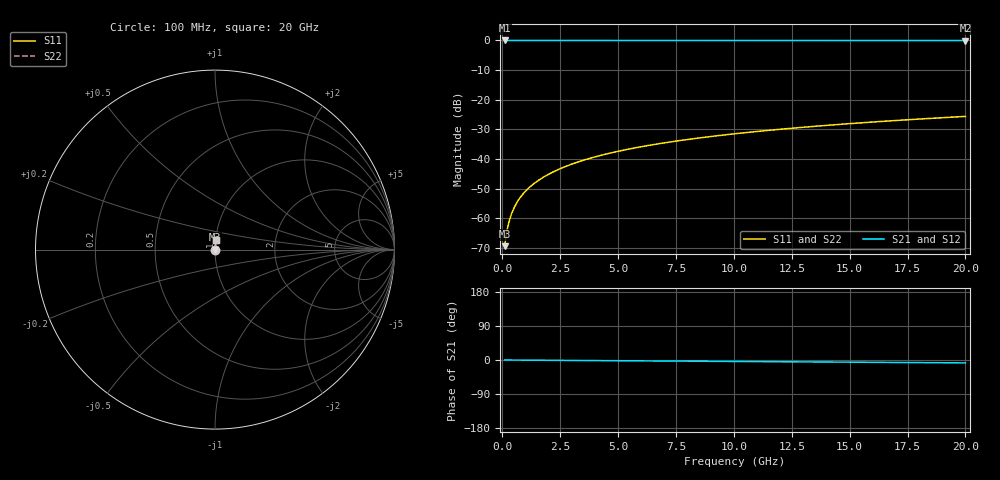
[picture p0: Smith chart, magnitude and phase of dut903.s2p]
! Touchstone file exported from HFSS 2026.1.0
!  File:  C:/ffzhzh/LocalFiles/Ansys_Project_Files/temp_train_TSV_903_1783186191_22436.aedt
!  Generated:  01:31:29 AM Jul  5, 2026
!  Design:  TSV
!  Project:  temp_train_TSV_903_1783186191_22436
! Variables:
!  h_bsmrdl = 2um
!  h_ox = 20um
!  h_rdl = 5um
!  h_sub = 64um
!  h_tmrdl = 5um
!  h_tsv = 64um
!  h_via = 3um
!  l_bsmrdl = 300um
!  l_sub = 415.28um
!  l_tmrdl = 200um
!  m_sub = 200um
!  pitch = 52.63um
!  r_tsv = 7.64um
!  s_tmrdl = 10um
!  w_bsmrdl = 18um
!  w_sub = 500um
!  w_tmrdl = 12um
!  x_tsv_center1 = 206um
!  x_tsv_center2 = 524um
!  x_tsv_center3 = 736um
!  x_tsv_center4 = 1054um
!  x_tsv_center5 = 1266um
!  x_tsv_center6 = 1584um
# GHz S MA R 50.000000
! Terminal data exported
! Port[1] = TSV1_1_T1
! Port[2] = TSV1_1_T2
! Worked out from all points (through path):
!   200 points, 100 MHz to 20 GHz, reference 50 ohm
!   highest |S21| = 0.00 dB at 100 MHz (marker M1); lowest = 0.0 dB at 20 GHz (marker M2)
!   group delay of S21, straight-line fit = 1.05 ps
!   lowest |S11| = -69.4 dB at 100 MHz (marker M3), VSWR 1.00, Z = 50 + j0.0298 ohm
!   |S11| at or under -10 dB: start of sweep to end of sweep
!   |S22| runs from -69.4 to -25.6 dB; largest |S21 - S12| = 3.1e-15
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0.1  0.0003383 61.8  0.9998 -0.0  0.9998 -0.0  0.0003383 61.8
! Gamma 0 0 0 0
! Port Impedance 50 0 50 0
0.2  0.0006179 74.1  0.9998 -0.1  0.9998 -0.1  0.0006179 74.1
0.3  0.0009061 78.3  0.9998 -0.1  0.9998 -0.1  0.0009061 78.3
0.4  0.001193 80.3  0.9998 -0.2  0.9998 -0.2  0.001193 80.3
0.5  0.001478 81.4  0.9998 -0.2  0.9998 -0.2  0.001478 81.4
0.6  0.001758 82.1  0.9998 -0.2  0.9998 -0.2  0.001758 82.1
0.7  0.002036 82.6  0.9997 -0.3  0.9997 -0.3  0.002036 82.6
0.8  0.002311 83.0  0.9997 -0.3  0.9997 -0.3  0.002311 83.0
1  0.002855 83.5  0.9997 -0.4  0.9997 -0.4  0.002855 83.5
1.4  0.00393 84.3  0.9996 -0.5  0.9996 -0.5  0.00393 84.3
1.7  0.004731 84.7  0.9996 -0.7  0.9996 -0.7  0.004731 84.7
2  0.005531 85.0  0.9996 -0.8  0.9996 -0.8  0.005531 85.0
2.7  0.007396 85.4  0.9995 -1.0  0.9995 -1.0  0.007396 85.4
3.5  0.009521 85.5  0.9994 -1.4  0.9994 -1.4  0.009521 85.5
4.2  0.01137 85.5  0.9994 -1.6  0.9994 -1.6  0.01137 85.5
5  0.01348 85.4  0.9993 -1.9  0.9993 -1.9  0.01348 85.4
6.8  0.01821 85.1  0.9991 -2.6  0.9991 -2.6  0.01821 85.1
8.3  0.02212 84.7  0.9989 -3.2  0.9989 -3.2  0.02212 84.7
10.1  0.02681 84.2  0.9987 -3.9  0.9987 -3.9  0.02681 84.2
13.4  0.03536 83.2  0.9984 -5.1  0.9984 -5.1  0.03536 83.2
16.7  0.04387 82.1  0.9979 -6.4  0.9979 -6.4  0.04387 82.1
20  0.05232 81.0  0.9974 -7.6  0.9974 -7.6  0.05232 81.0
